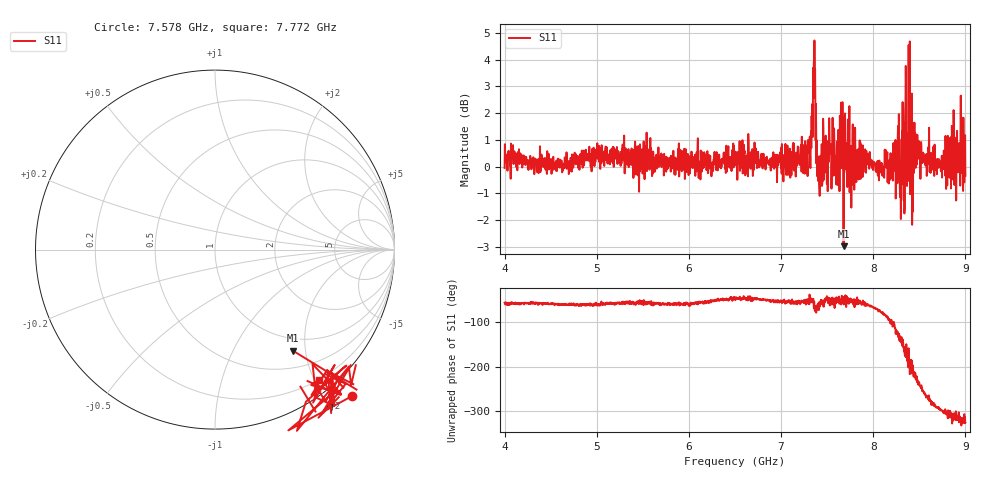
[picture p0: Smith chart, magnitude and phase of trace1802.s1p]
! Created with skrf 1.8.0 (http://scikit-rf.org).
# Hz S RI R 50.0
!freq ReS11 ImS11
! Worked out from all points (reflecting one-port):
!   1601 points, 4 GHz to 9 GHz, reference 50 ohm
!   lowest |S11| = -3.0 dB at 7.678 GHz (marker M1), VSWR 5.91, Z = 38.8 - j88.3 ohm
!   phase of S11 starts at -56 deg and turns -269 deg over the sweep
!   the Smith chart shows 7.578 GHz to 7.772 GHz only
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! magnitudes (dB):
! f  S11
! 4 GHz  0.0
! 4.625 GHz  -0.2
! 5.25 GHz  0.1
! 5.875 GHz  0.2
! 6.5 GHz  0.5
! 7.125 GHz  0.1
! 7.294 GHz  0.5
! 7.356 GHz  3.9
! 7.372 GHz  2.1
! 7.4 GHz  0.1
! 7.428 GHz  0.4
! 7.509 GHz  0.5
! 7.609 GHz  0.1
! 7.647 GHz  1.1
! 7.678 GHz  -3.0
! 7.75 GHz  0.0
! 8.097 GHz  0.1
! 8.253 GHz  -0.2
! 8.316 GHz  0.5
! 8.331 GHz  -1.3
! 8.353 GHz  3.8
! 8.372 GHz  0.7
! 8.375 GHz  0.1
! 8.447 GHz  1.6
! 8.459 GHz  0.0
! 8.744 GHz  0.4
! 8.972 GHz  0.9
! 9 GHz  -0.3
